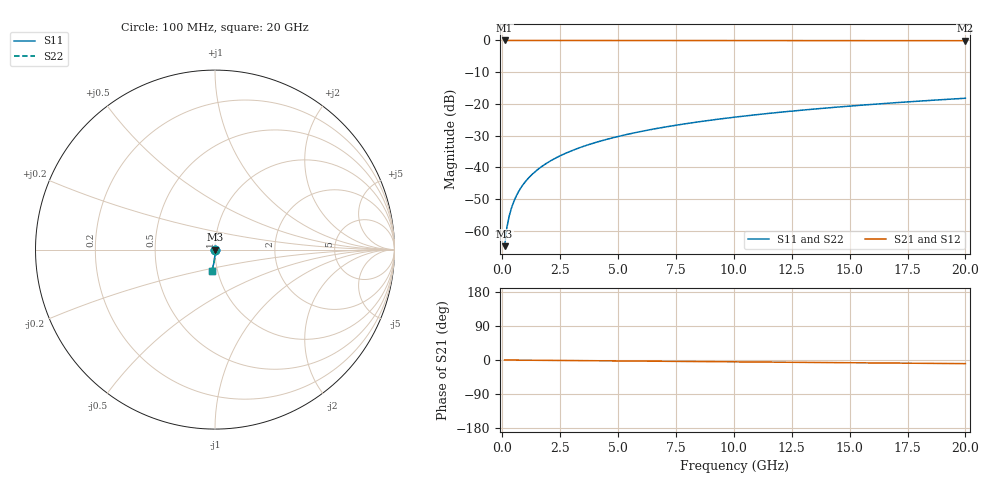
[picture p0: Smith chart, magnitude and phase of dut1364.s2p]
! Touchstone file exported from HFSS 2026.1.0
!  File:  C:/ffzhzh/LocalFiles/Ansys_Project_Files/temp_train_TSV_1364_1783196095_22436.aedt
!  Generated:  04:16:13 AM Jul  5, 2026
!  Design:  TSV
!  Project:  temp_train_TSV_1364_1783196095_22436
! Variables:
!  h_bsmrdl = 2um
!  h_ox = 20um
!  h_rdl = 5um
!  h_sub = 69.89um
!  h_tmrdl = 5um
!  h_tsv = 69.89um
!  h_via = 3um
!  l_bsmrdl = 300um
!  l_sub = 425.24um
!  l_tmrdl = 200um
!  m_sub = 200um
!  pitch = 28.58um
!  r_tsv = 12.62um
!  s_tmrdl = 10um
!  w_bsmrdl = 18um
!  w_sub = 500um
!  w_tmrdl = 12um
!  x_tsv_center1 = 206um
!  x_tsv_center2 = 524um
!  x_tsv_center3 = 736um
!  x_tsv_center4 = 1054um
!  x_tsv_center5 = 1266um
!  x_tsv_center6 = 1584um
# GHz S MA R 50.000000
! Terminal data exported
! Port[1] = TSV1_1_T1
! Port[2] = TSV1_1_T2
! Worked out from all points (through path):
!   200 points, 100 MHz to 20 GHz, reference 50 ohm
!   highest |S21| = 0.00 dB at 100 MHz (marker M1); lowest = -0.1 dB at 20 GHz (marker M2)
!   group delay of S21, straight-line fit = 1.33 ps
!   lowest |S11| = -64.9 dB at 100 MHz (marker M3), VSWR 1.00, Z = 50 - j0.056 ohm
!   |S11| at or under -10 dB: start of sweep to end of sweep
!   |S22| runs from -64.9 to -18.2 dB; largest |S21 - S12| = 4.1e-15
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0.1  0.0005689 -79.9  0.9999 -0.1  0.9999 -0.1  0.0005689 -79.9
! Gamma 0 0 0 0
! Port Impedance 50 0 50 0
0.2  0.001133 -84.0  0.9999 -0.1  0.9999 -0.1  0.001133 -84.0
0.3  0.001709 -85.1  0.9998 -0.2  0.9998 -0.2  0.001709 -85.1
0.4  0.002297 -85.6  0.9998 -0.2  0.9998 -0.2  0.002297 -85.6
0.5  0.002894 -86.0  0.9998 -0.3  0.9998 -0.3  0.002894 -86.0
0.7  0.004106 -86.5  0.9997 -0.4  0.9997 -0.4  0.004106 -86.5
0.8  0.004718 -86.8  0.9997 -0.4  0.9997 -0.4  0.004718 -86.8
1  0.005946 -87.2  0.9996 -0.5  0.9996 -0.5  0.005946 -87.2
1.2  0.007176 -87.7  0.9996 -0.6  0.9996 -0.6  0.007176 -87.7
1.4  0.008407 -88.0  0.9996 -0.7  0.9996 -0.7  0.008407 -88.0
1.7  0.01025 -88.5  0.9995 -0.8  0.9995 -0.8  0.01025 -88.5
2  0.0121 -88.8  0.9995 -1.0  0.9995 -1.0  0.0121 -88.8
2.7  0.0164 -89.5  0.9993 -1.3  0.9993 -1.3  0.0164 -89.5
3.5  0.02132 -90.1  0.9992 -1.7  0.9992 -1.7  0.02132 -90.1
4.2  0.02563 -90.6  0.999 -2.0  0.999 -2.0  0.02563 -90.6
5  0.03057 -91.1  0.9988 -2.4  0.9988 -2.4  0.03057 -91.1
6.8  0.04169 -92.1  0.9983 -3.3  0.9983 -3.3  0.04169 -92.1
8.3  0.05095 -93.0  0.9978 -4.0  0.9978 -4.0  0.05095 -93.0
10.1  0.06206 -93.9  0.997 -4.9  0.997 -4.9  0.06206 -93.9
13.4  0.08236 -95.6  0.9954 -6.5  0.9954 -6.5  0.08236 -95.6
16.7  0.1025 -97.3  0.9934 -8.0  0.9934 -8.0  0.1025 -97.3
20  0.1226 -98.9  0.9909 -9.6  0.9909 -9.6  0.1226 -98.9
